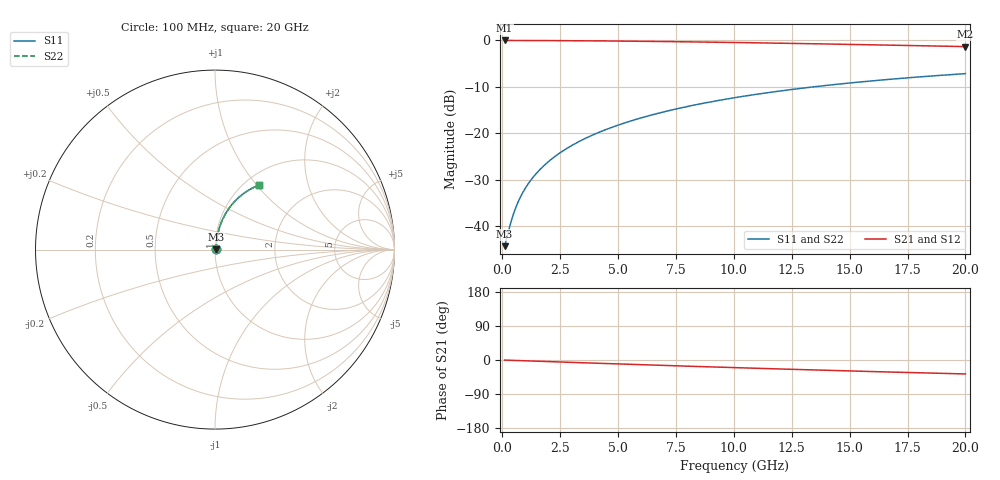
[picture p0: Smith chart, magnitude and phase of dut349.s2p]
! Touchstone file exported from HFSS 2024.1.0
!  File:  C:/UserFiles/LocalFiles/RDL_TSV_Batchsim/temp_RDL_top_349_1779608116.aedt
!  Generated:  03:37:27 PM May 24, 2026
!  Design:  RDL_top
!  Project:  temp_RDL_top_349_1779608116
!  Setup:  Setup1
!  Solution:  Sweep
! Variables:
!  dtsv = 10.80580581um
!  hbump = 3um
!  htsv = 81.09um
!  ldown = 100um
!  lrdl = 435.51um
!  p = 40
!  p1 = 49.83um
!  rhole = 1um
!  t = 450um
!  tdown = 3.915915916um
!  trdl = 2.29um
!  wdown = 15.38538539um
!  wrdl = 12.47um
# GHz S MA R 50.000000
! Terminal data exported
! Port[1] = Box2_T1
! Port[2] = Box2_T2
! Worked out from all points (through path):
!   200 points, 100 MHz to 20 GHz, reference 50 ohm
!   highest |S21| = -0.05 dB at 100 MHz (marker M1); lowest = -1.4 dB at 20 GHz (marker M2)
!   group delay of S21, straight-line fit = 5.12 ps
!   lowest |S11| = -44.3 dB at 100 MHz (marker M3), VSWR 1.01, Z = 50.6 + j0.258 ohm
!   |S11| at or under -10 dB: start of sweep to 13.49 GHz
!   |S22| runs from -44.3 to -7.2 dB; largest |S21 - S12| = 2.4e-15
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0.1  0.006104 24.7  0.9945 -0.2  0.9945 -0.2  0.006104 24.7
! Gamma 0 0 0 0
! Port Impedance 50 0 50 0
0.4  0.01168 60.1  0.9942 -0.9  0.9942 -0.9  0.01168 60.1
0.5  0.01395 64.7  0.9941 -1.1  0.9941 -1.1  0.01395 64.7
0.6  0.01628 67.9  0.9939 -1.3  0.9939 -1.3  0.01628 67.9
0.7  0.01864 70.3  0.9938 -1.5  0.9938 -1.5  0.01864 70.3
0.9  0.02338 73.4  0.9934 -1.9  0.9934 -1.9  0.02338 73.4
1.2  0.03053 76.2  0.9929 -2.6  0.9929 -2.6  0.03053 76.2
1.4  0.03531 77.4  0.9925 -3.0  0.9925 -3.0  0.03531 77.3
1.7  0.04249 78.5  0.9919 -3.6  0.9919 -3.6  0.04249 78.5
2.2  0.0545 79.5  0.9907 -4.6  0.9907 -4.6  0.0545 79.5
2.8  0.06897 79.9  0.989 -5.9  0.989 -5.9  0.06897 79.9
3.5  0.08591 79.9  0.9865 -7.3  0.9865 -7.3  0.08591 79.9
4.2  0.1029 79.4  0.9836 -8.8  0.9836 -8.8  0.1029 79.4
5  0.1222 78.6  0.9798 -10.4  0.9798 -10.4  0.1222 78.6
5.9  0.1439 77.6  0.9749 -12.2  0.9749 -12.2  0.1439 77.6
6.8  0.1655 76.4  0.9694 -14.0  0.9694 -14.0  0.1655 76.3
8.4  0.2034 74.0  0.9585 -17.1  0.9585 -17.1  0.2034 74.0
10.1  0.2426 71.3  0.9454 -20.3  0.9454 -20.3  0.2426 71.3
11.7  0.2782 68.7  0.932 -23.2  0.932 -23.2  0.2782 68.6
13.4  0.3144 65.9  0.9169 -26.2  0.9169 -26.2  0.3144 65.9
16.7  0.3795 60.6  0.886 -31.7  0.886 -31.7  0.3795 60.6
20  0.4372 55.5  0.8541 -36.8  0.8541 -36.8  0.4371 55.5
